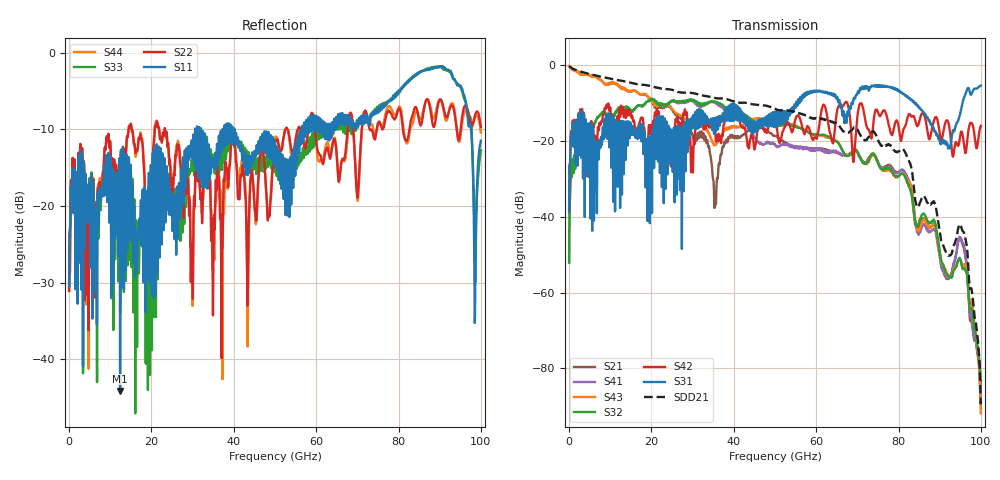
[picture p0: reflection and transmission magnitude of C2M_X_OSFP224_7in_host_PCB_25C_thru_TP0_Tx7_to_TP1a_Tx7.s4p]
# GHz S RI R 45
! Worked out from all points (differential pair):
!   4000 points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, 25 MHz to 100 GHz, reference 45 ohm
!   strongest paths, dB at 25 MHz, 25.02 GHz, 50.02 GHz, 75.03 GHz, 100 GHz:
!     S31: -38.6, -17.9, -12.9, -5.2, -5.3
!     S42: -38.6, -21.8, -13.7, -12.6, -15.9
!     S32: -52.1, -9.4, -15.7, -25.8, -82.9
!     S43: -0.2, -11.4, -15.5, -25.8, -91.9
!     S41: -52.1, -9.6, -20.9, -25.6, -84.1
!     S21: -0.2, -11.7, -18.6, -25.6, -83.4
!   taken as a pair (ports 3,1 in; 4,2 out), SDD21 dB: -0.2, -6.5, -11.5, -19.7, -88.7
!   lowest |S11| = -44.1 dB at 12.4 GHz (marker M1), VSWR 1.01, Z = 44.6 + j0.409 ohm
!   |S11| at or under -10 dB: start of sweep to 30.62 GHz; 32.06 GHz to 37.29 GHz (5.232 GHz wide, 15.1 % of centre); 40.16 GHz to 56.53 GHz (16.38 GHz wide, 33.9 % of centre) (the widest 3 of 30)
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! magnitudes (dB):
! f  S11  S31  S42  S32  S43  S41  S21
! 25 MHz  -30.5  -38.6  -38.6  -52.1  -0.2  -52.1  -0.2
! 2.225 GHz  -15.1  -13.8  -13.5  -19.4  -2.0  -19.4  -2.0
! 12.4 GHz  -44.1  -37.7  -13.6  -11.2  -5.5  -11.3  -5.5
! 35.4 GHz  -13.8  -14.1  -16.8  -9.6  -21.0  -9.9  -36.6
! 81.15 GHz  -4.4  -7.5  -17.1  -28.8  -28.6  -27.7  -27.8
! 95.55 GHz  -4.9  -9.8  -18.3  -53.7  -53.1  -46.8  -47.3
! 100 GHz  -11.5  -5.3  -15.9  -82.9  -91.9  -84.1  -83.4
